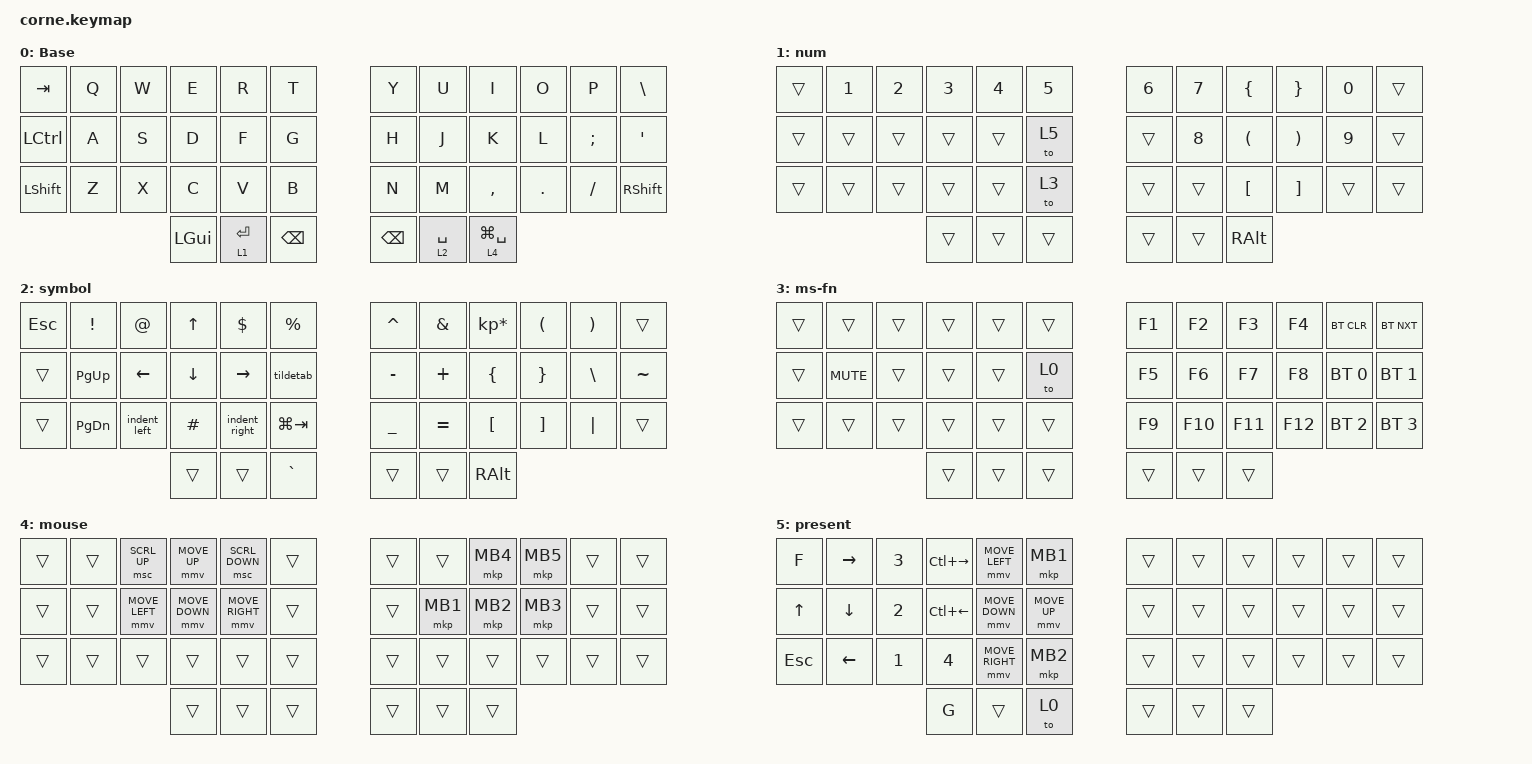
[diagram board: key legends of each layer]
/*
 * Copyright (c) 2020 The ZMK Contributors
 *
 * SPDX-License-Identifier: MIT
 */

#include <behaviors.dtsi>
#include <dt-bindings/zmk/bt.h>
#include <dt-bindings/zmk/keys.h>
#include <dt-bindings/zmk/pointing.h>

/ {
    macros {
        hyper: hyper {
            compatible = "zmk,behavior-macro";
            #binding-cells = <0>;
            bindings = <&kp LS(LA(LG(RIGHT_CONTROL)))>;
        };

        indent_left: indent_left {
            compatible = "zmk,behavior-macro";
            #binding-cells = <0>;
            bindings = <&kp LG(LEFT_BRACKET)>;
        };

        indent_right: indent_right {
            compatible = "zmk,behavior-macro";
            #binding-cells = <0>;
            bindings = <&kp LG(RIGHT_BRACKET)>;
        };

        tildetab: tildetab {
            compatible = "zmk,behavior-macro";
            #binding-cells = <0>;
            bindings = <&kp LG(GRAVE)>;
        };
    };

    combos {
        compatible = "zmk,combos";

        new_combo {
            bindings = <&tog 3>;
            key-positions = <38 39>;
        };
    };

    keymap {
        compatible = "zmk,keymap";

        Base {
            // -----------------------------------------------------------------------------------------
            // |  TAB |  Q  |  W  |  E  |  R  |  T  |   |  Y  |  U   |  I  |  O  |  P  | BKSP |
            // | CTRL |  A  |  S  |  D  |  F  |  G  |   |  H  |  J   |  K  |  L  |  ;  |  '   |
            // | SHFT |  Z  |  X  |  C  |  V  |  B  |   |  N  |  M   |  ,  |  .  |  /  | ESC  |
            //                    | GUI | LWR | SPC |   | ENT | RSE  | ALT |

            bindings = <
&kp TAB    &kp Q  &kp W  &kp E     &kp R        &kp T            &kp Y          &kp U        &kp I            &kp O    &kp P     &kp BACKSLASH
&kp LCTRL  &kp A  &kp S  &kp D     &kp F        &kp G            &kp H          &kp J        &kp K            &kp L    &kp SEMI  &kp SQT
&kp LSHFT  &kp Z  &kp X  &kp C     &kp V        &kp B            &kp N          &kp M        &kp COMMA        &kp DOT  &kp FSLH  &kp RIGHT_SHIFT
                         &kp LGUI  &lt 1 ENTER  &kp BACKSPACE    &kp BACKSPACE  &lt 2 SPACE  &lt 4 LG(SPACE)
            >;

            label = "Base";
        };

        lower_layer {
            // -----------------------------------------------------------------------------------------
            // |  TAB |  1  |  2  |  3  |  4  |  5  |   |  6  |  7  |  8  |  9  |  0  | BKSP |
            // | BTCLR| BT1 | BT2 | BT3 | BT4 | BT5 |   | LFT | DWN |  UP | RGT |     |      |
            // | SHFT |     |     |     |     |     |   |     |     |     |     |     |      |
            //                    | GUI |     | SPC |   | ENT |     | ALT |

            bindings = <
&trans  &kp N1  &kp N2  &kp N3  &kp N4  &kp N5    &kp N6  &kp N7  &kp LEFT_BRACE        &kp RIGHT_BRACE        &kp N0  &trans
&trans  &trans  &trans  &trans  &trans  &to 5     &trans  &kp N8  &kp LEFT_PARENTHESIS  &kp RIGHT_PARENTHESIS  &kp N9  &trans
&trans  &trans  &trans  &trans  &trans  &to 3     &trans  &trans  &kp LEFT_BRACKET      &kp RIGHT_BRACKET      &trans  &trans
                        &trans  &trans  &trans    &trans  &trans  &kp RALT
            >;

            label = "num";
        };

        symbol-nav {
            // -----------------------------------------------------------------------------------------
            // |  TAB |  !  |  @  |  #  |  $  |  %  |   |  ^  |  &  |  *  |  (  |  )  | BKSP |
            // | CTRL |     |     |     |     |     |   |  -  |  =  |  [  |  ]  |  \  |  `   |
            // | SHFT |     |     |     |     |     |   |  _  |  +  |  {  |  }  | "|" |  ~   |
            //                    | GUI |     | SPC |   | ENT |     | ALT |

            bindings = <
&kp ESCAPE  &kp EXCL       &kp AT        &kp UP    &kp DLLR       &kp PRCNT      &kp CARET  &kp AMPS   &kp KP_MULTIPLY  &kp LPAR           &kp RPAR  &trans
&trans      &kp PAGE_UP    &kp LEFT      &kp DOWN  &kp RIGHT      &tildetab      &kp MINUS  &kp PLUS   &kp LBRC         &kp RBRC           &kp BSLH  &kp TILDE
&trans      &kp PAGE_DOWN  &indent_left  &kp HASH  &indent_right  &kp LG(TAB)    &kp UNDER  &kp EQUAL  &kp LBKT         &kp RIGHT_BRACKET  &kp PIPE  &trans
                                         &trans    &trans         &kp GRAVE      &trans     &trans     &kp RALT
            >;

            label = "symbol";
        };

        admin {
            bindings = <
&trans  &trans      &trans  &trans  &trans  &trans    &kp F1  &kp F2   &kp F3   &kp F4   &bt BT_CLR    &bt BT_NXT
&trans  &kp K_MUTE  &trans  &trans  &trans  &to 0     &kp F5  &kp F6   &kp F7   &kp F8   &bt BT_SEL 0  &bt BT_SEL 1
&trans  &trans      &trans  &trans  &trans  &trans    &kp F9  &kp F10  &kp F11  &kp F12  &bt BT_SEL 2  &bt BT_SEL 3
                            &trans  &trans  &trans    &trans  &trans   &trans
            >;

            label = "ms-fn";
        };

        mouse {
            bindings = <
&trans  &trans  &msc SCRL_UP    &mmv MOVE_UP    &msc SCRL_DOWN   &trans    &trans  &trans    &mkp MB4  &mkp MB5  &trans  &trans
&trans  &trans  &mmv MOVE_LEFT  &mmv MOVE_DOWN  &mmv MOVE_RIGHT  &trans    &trans  &mkp MB1  &mkp MB2  &mkp MB3  &trans  &trans
&trans  &trans  &trans          &trans          &trans           &trans    &trans  &trans    &trans    &trans    &trans  &trans
                                &trans          &trans           &trans    &trans  &trans    &trans
            >;

            label = "mouse";
        };

        presentation {
            label = "present";
            bindings = <
&kp F         &kp RIGHT  &kp NUMBER_3  &kp LC(RIGHT_ARROW)  &mmv MOVE_LEFT   &mkp MB1        &trans  &trans  &trans  &trans  &trans  &trans
&kp UP_ARROW  &kp DOWN   &kp NUMBER_2  &kp LC(LEFT_ARROW)   &mmv MOVE_DOWN   &mmv MOVE_UP    &trans  &trans  &trans  &trans  &trans  &trans
&kp ESCAPE    &kp LEFT   &kp NUMBER_1  &kp NUMBER_4         &mmv MOVE_RIGHT  &mkp MB2        &trans  &trans  &trans  &trans  &trans  &trans
                                       &kp G                &trans           &to 0           &trans  &trans  &trans
            >;
        };
    };
};
